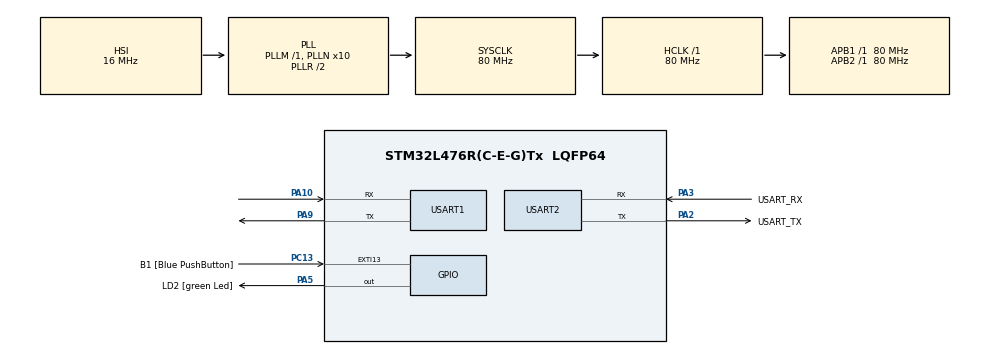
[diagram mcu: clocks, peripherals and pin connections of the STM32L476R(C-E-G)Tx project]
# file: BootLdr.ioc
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Mcu.Family=STM32L4
Mcu.Name=STM32L476R(C-E-G)Tx
Mcu.Package=LQFP64
NVIC.PriorityGroup=NVIC_PRIORITYGROUP_4
PA10.Mode=Asynchronous
PA10.Signal=USART1_RX
PA13\ (JTMS-SWDIO).GPIO_Label=TMS
PA13\ (JTMS-SWDIO).Mode=Trace_Asynchronous_SW
PA13\ (JTMS-SWDIO).Signal=SYS_JTMS-SWDIO
PA14\ (JTCK-SWCLK).GPIO_Label=TCK
PA14\ (JTCK-SWCLK).Mode=Trace_Asynchronous_SW
PA14\ (JTCK-SWCLK).Signal=SYS_JTCK-SWCLK
PA2.GPIO_Label=USART_TX
PA2.GPIO_Mode=GPIO_MODE_AF_PP
PA2.GPIO_PuPd=GPIO_NOPULL
PA2.GPIO_Speed=GPIO_SPEED_FREQ_VERY_HIGH
PA2.Mode=Asynchronous
PA2.Signal=USART2_TX
PA3.GPIO_Label=USART_RX
PA3.GPIO_Mode=GPIO_MODE_AF_PP
PA3.GPIO_PuPd=GPIO_NOPULL
PA3.GPIO_Speed=GPIO_SPEED_FREQ_VERY_HIGH
PA3.Mode=Asynchronous
PA3.Signal=USART2_RX
PA5.GPIO_Label=LD2 [green Led]
PA5.GPIO_ModeDefaultOutputPP=GPIO_MODE_OUTPUT_PP
PA5.GPIO_PuPd=GPIO_NOPULL
PA5.GPIO_Speed=GPIO_SPEED_FREQ_LOW
PA5.Signal=GPIO_Output
PA9.Mode=Asynchronous
PA9.Signal=USART1_TX
PB3\ (JTDO-TRACESWO).GPIO_Label=SWO
PB3\ (JTDO-TRACESWO).Mode=Trace_Asynchronous_SW
PB3\ (JTDO-TRACESWO).Signal=SYS_JTDO-SWO
PC13.GPIO_Label=B1 [Blue PushButton]
PC13.GPIO_ModeDefaultEXTI=GPIO_MODE_IT_FALLING
PC13.GPIO_PuPd=GPIO_NOPULL
PC13.Signal=GPXTI13
PC14-OSC32_IN\ (PC14).Mode=LSE-External-Oscillator
PC14-OSC32_IN\ (PC14).Signal=RCC_OSC32_IN
PC15-OSC32_OUT\ (PC15).Mode=LSE-External-Oscillator
PC15-OSC32_OUT\ (PC15).Signal=RCC_OSC32_OUT
PH0-OSC_IN\ (PH0).Signal=RCC_OSC_IN
PH1-OSC_OUT\ (PH1).Signal=RCC_OSC_OUT
ProjectManager.HeapSize=0x200
ProjectManager.StackSize=0x400
ProjectManager.TargetToolchain=TrueSTUDIO
RCC.ADCFreq_Value=96000000
RCC.AHBFreq_Value=80000000
RCC.APB1Freq_Value=80000000
RCC.APB1TimFreq_Value=80000000
RCC.APB2Freq_Value=80000000
RCC.APB2TimFreq_Value=80000000
RCC.CortexFreq_Value=80000000
RCC.HCLKFreq_Value=80000000
RCC.HSE_VALUE=8000000
RCC.HSI_VALUE=16000000
RCC.MSI_VALUE=4000000
RCC.PLLN=10
RCC.PLLSAI1N=12
RCC.PLLSAI1Q=RCC_PLLQ_DIV4
RCC.PLLSourceVirtual=RCC_PLLSOURCE_HSI
RCC.PREFETCH_ENABLE=1
RCC.RTCClockSelection=RCC_RTCCLKSOURCE_LSE
RCC.SYSCLKFreq_VALUE=80000000
RCC.SYSCLKSource=RCC_SYSCLKSOURCE_PLLCLK
RCC.USBFreq_Value=48000000
RCC.VCOOutputFreq_Value=160000000
RTC.Format=RTC_FORMAT_BIN
USART1.VirtualMode-Asynchronous=VM_ASYNC
USART1.WordLength=WORDLENGTH_8B
USART2.VirtualMode-Asynchronous=VM_ASYNC
USART2.WordLength=WORDLENGTH_8B
VP_RNG_VS_RNG.Mode=RNG_Activate
VP_RTC_VS_RTC_Activate.Mode=RTC_Enabled
VP_RTC_VS_RTC_Calendar.Mode=RTC_Calendar
board=NUCLEO-L476RG

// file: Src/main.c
/**
  ******************************************************************************
  * File Name          : main.c
  * Description        : Main program body
  ******************************************************************************
  ** This notice applies to any and all portions of this file
  * that are not between comment pairs USER CODE BEGIN and
  * USER CODE END. Other portions of this file, whether
  * inserted by the user or by software development tools
  * are owned by their respective copyright owners.
  *
  * COPYRIGHT(c) 2017 STMicroelectronics
  *
  * Redistribution and use in source and binary forms, with or without modification,
  * are permitted provided that the following conditions are met:
  *   1. Redistributions of source code must retain the above copyright notice,
  *      this list of conditions and the following disclaimer.
  *   2. Redistributions in binary form must reproduce the above copyright notice,
  *      this list of conditions and the following disclaimer in the documentation
  *      and/or other materials provided with the distribution.
  *   3. Neither the name of STMicroelectronics nor the names of its contributors
  *      may be used to endorse or promote products derived from this software
  *      without specific prior written permission.
  *
  * THIS SOFTWARE IS PROVIDED BY THE COPYRIGHT HOLDERS AND CONTRIBUTORS "AS IS"
  * AND ANY EXPRESS OR IMPLIED WARRANTIES, INCLUDING, BUT NOT LIMITED TO, THE
  * IMPLIED WARRANTIES OF MERCHANTABILITY AND FITNESS FOR A PARTICULAR PURPOSE ARE
  * DISCLAIMED. IN NO EVENT SHALL THE COPYRIGHT HOLDER OR CONTRIBUTORS BE LIABLE
  * FOR ANY DIRECT, INDIRECT, INCIDENTAL, SPECIAL, EXEMPLARY, OR CONSEQUENTIAL
  * DAMAGES (INCLUDING, BUT NOT LIMITED TO, PROCUREMENT OF SUBSTITUTE GOODS OR
  * SERVICES; LOSS OF USE, DATA, OR PROFITS; OR BUSINESS INTERRUPTION) HOWEVER
  * CAUSED AND ON ANY THEORY OF LIABILITY, WHETHER IN CONTRACT, STRICT LIABILITY,
  * OR TORT (INCLUDING NEGLIGENCE OR OTHERWISE) ARISING IN ANY WAY OUT OF THE USE
  * OF THIS SOFTWARE, EVEN IF ADVISED OF THE POSSIBILITY OF SUCH DAMAGE.
  *
  ******************************************************************************
  */

#include <string.h>
#include "main.h"
#include "stm32l4xx_hal.h"

/* USER CODE BEGIN Includes */
#include "..\..\inc\Firewall.h"
/* USER CODE END Includes */

RNG_HandleTypeDef hrng;

RTC_HandleTypeDef hrtc;

UART_HandleTypeDef huart1;
UART_HandleTypeDef huart2;

/* USER CODE BEGIN PV */
/* Private variables ---------------------------------------------------------*/

/* USER CODE END PV */

void SystemClock_Config(void);
static void MX_GPIO_Init(void);
static void MX_RNG_Init(void);
static void MX_RTC_Init(void);
static void MX_USART2_UART_Init(void);
static void MX_USART1_UART_Init(void);

/* USER CODE BEGIN PFP */
/* Private function prototypes -----------------------------------------------*/

/* USER CODE END PFP */

/* USER CODE BEGIN 0 */
#define CPU_CORE_FREQUENCY_HZ 800000000 /* CPU core frequency in Hz */
void SWO_Init(uint32_t portBits, uint32_t cpuCoreFreqHz) {
  uint32_t SWOSpeed = 4500000; /* default 2000k baud rate */
  uint32_t SWOPrescaler = (cpuCoreFreqHz / SWOSpeed) - 1; /* SWOSpeed in Hz, note that cpuCoreFreqHz is expected to be match the CPU core clock */

  CoreDebug->DEMCR = CoreDebug_DEMCR_TRCENA_Msk; /* enable trace in core debug */
  *((volatile unsigned *)(ITM_BASE + 0x400F0)) = 0x00000002; /* "Selected PIN Protocol Register": Select which protocol to use for trace output (2: SWO NRZ, 1: SWO Manchester encoding) */
  *((volatile unsigned *)(ITM_BASE + 0x40010)) = SWOPrescaler; /* "Async Clock Prescaler Register". Scale the baud rate of the asynchronous output */
  *((volatile unsigned *)(ITM_BASE + 0x00FB0)) = 0xC5ACCE55; /* ITM Lock Access Register, C5ACCE55 enables more write access to Control Register 0xE00 :: 0xFFC */
  ITM->TCR = ITM_TCR_TraceBusID_Msk | ITM_TCR_SWOENA_Msk | ITM_TCR_SYNCENA_Msk | ITM_TCR_ITMENA_Msk; /* ITM Trace Control Register */
  ITM->TPR = ITM_TPR_PRIVMASK_Msk; /* ITM Trace Privilege Register */
  ITM->TER = portBits; /* ITM Trace Enable Register. Enabled tracing on stimulus ports. One bit per stimulus port. */
  *((volatile unsigned *)(ITM_BASE + 0x01000)) = 0x400003FE; /* DWT_CTRL */
  *((volatile unsigned *)(ITM_BASE + 0x40304)) = 0x00000100; /* Formatter and Flush Control Register */
}

/* USER CODE END 0 */

int main(void)
{

  /* USER CODE BEGIN 1 */
  unsigned int result = 0;
  DICE_Context ctx = {0};
  unsigned int sizeTab[3];
  unsigned char* dataTab[3];
  uint8_t key[9] = {0};
  uint8_t data[50] = {0};
  uint8_t digest[32] = {0};
  /* USER CODE END 1 */

  /* MCU Configuration----------------------------------------------------------*/

  /* Reset of all peripherals, Initializes the Flash interface and the Systick. */
  HAL_Init();

  /* Configure the system clock */
  SystemClock_Config();

  /* USER CODE BEGIN SysInit */
  SWO_Init(0x1, CPU_CORE_FREQUENCY_HZ);
  fprintf(stderr, "fancyDICE\r\n");

  /* USER CODE END SysInit */

  /* Initialize all configured peripherals */
  MX_GPIO_Init();
  MX_RNG_Init();
  MX_RTC_Init();
  MX_USART2_UART_Init();
  MX_USART1_UART_Init();

  /* USER CODE BEGIN 2 */
  ctx.fid = DICE_FID_NOOP;
  ctx.magic = DICE_MAGIC;
  ctx.paramSize = 0;
  result = FWCALLGATE(&ctx);

  ctx.fid = DICE_FID_HalHandleTable;
  ctx.magic = DICE_MAGIC;
  ctx.paramSize = sizeof(DICE_PARAM_HalHandleTable);
  ctx.u.HalHandleTable.in.handleTable.phRng = &hrng;
  ctx.u.HalHandleTable.in.handleTable.phUart = &huart2;
  result = FWCALLGATE(&ctx);

  ctx.fid = DICE_FID_GetRandom;
  ctx.magic = DICE_MAGIC;
  ctx.paramSize = sizeof(DICE_PARAM_GetRandom);
  ctx.u.GetRandom.in.entropy = data;
  ctx.u.GetRandom.in.size = sizeof(data);
  result = FWCALLGATE(&ctx);

  ctx.fid = DICE_FID_SHA256;
  ctx.magic = DICE_MAGIC;
  ctx.paramSize = sizeof(DICE_PARAM_SHA256);
  ctx.u.SHA256.in.segments = 3;
  dataTab[0] = data;
  sizeTab[0] = sizeof(data);
  dataTab[1] = data;
  sizeTab[1] = sizeof(data);
  dataTab[2] = data;
  sizeTab[2] = sizeof(data);
  ctx.u.SHA256.in.data = dataTab;
  ctx.u.SHA256.in.size = sizeTab;
  ctx.u.SHA256.in.digest = digest;
  memset(digest, 0x00, sizeof(digest));
  result = FWCALLGATE(&ctx);

  ctx.fid = DICE_FID_GetRandom;
  ctx.magic = DICE_MAGIC;
  ctx.paramSize = sizeof(DICE_PARAM_GetRandom);
  ctx.u.GetRandom.in.entropy = key;
  ctx.u.GetRandom.in.size = sizeof(key);
  result = FWCALLGATE(&ctx);

  ctx.fid = DICE_FID_HMACSHA256;
  ctx.magic = DICE_MAGIC;
  ctx.paramSize = sizeof(DICE_PARAM_HMACSHA256);
  ctx.u.HMACSHA256.in.key = key;
  ctx.u.HMACSHA256.in.keySize = sizeof(key);
  ctx.u.HMACSHA256.in.segments = 3;
  dataTab[0] = data;
  sizeTab[0] = sizeof(data);
  dataTab[1] = data;
  sizeTab[1] = sizeof(data);
  dataTab[2] = data;
  sizeTab[2] = sizeof(data);
  ctx.u.HMACSHA256.in.data = dataTab;
  ctx.u.HMACSHA256.in.dataSize = sizeTab;
  ctx.u.HMACSHA256.in.hmac = digest;
  memset(digest, 0x00, sizeof(digest));
  result = FWCALLGATE(&ctx);

  /* USER CODE END 2 */

  /* Infinite loop */
  while (1)
  {

  /* USER CODE BEGIN 3 */
    fprintf(stdout, "Hallo World\r\n");
    HAL_Delay(1000);
  }
  /* USER CODE END 3 */

}

/** System Clock Configuration
*/
void SystemClock_Config(void)
{

  RCC_OscInitTypeDef RCC_OscInitStruct;
  RCC_ClkInitTypeDef RCC_ClkInitStruct;
  RCC_PeriphCLKInitTypeDef PeriphClkInit;

    /**Configure LSE Drive Capability
    */
  __HAL_RCC_LSEDRIVE_CONFIG(RCC_LSEDRIVE_LOW);

    /**Initializes the CPU, AHB and APB busses clocks
    */
  RCC_OscInitStruct.OscillatorType = RCC_OSCILLATORTYPE_HSI|RCC_OSCILLATORTYPE_LSE;
  RCC_OscInitStruct.LSEState = RCC_LSE_ON;
  RCC_OscInitStruct.HSIState = RCC_HSI_ON;
  RCC_OscInitStruct.HSICalibrationValue = 16;
  RCC_OscInitStruct.PLL.PLLState = RCC_PLL_ON;
  RCC_OscInitStruct.PLL.PLLSource = RCC_PLLSOURCE_HSI;
  RCC_OscInitStruct.PLL.PLLM = 1;
  RCC_OscInitStruct.PLL.PLLN = 10;
  RCC_OscInitStruct.PLL.PLLP = RCC_PLLP_DIV7;
  RCC_OscInitStruct.PLL.PLLQ = RCC_PLLQ_DIV2;
  RCC_OscInitStruct.PLL.PLLR = RCC_PLLR_DIV2;
  if (HAL_RCC_OscConfig(&RCC_OscInitStruct) != HAL_OK)
  {
    _Error_Handler(__FILE__, __LINE__);
  }

    /**Initializes the CPU, AHB and APB busses clocks
    */
  RCC_ClkInitStruct.ClockType = RCC_CLOCKTYPE_HCLK|RCC_CLOCKTYPE_SYSCLK
                              |RCC_CLOCKTYPE_PCLK1|RCC_CLOCKTYPE_PCLK2;
  RCC_ClkInitStruct.SYSCLKSource = RCC_SYSCLKSOURCE_PLLCLK;
  RCC_ClkInitStruct.AHBCLKDivider = RCC_SYSCLK_DIV1;
  RCC_ClkInitStruct.APB1CLKDivider = RCC_HCLK_DIV1;
  RCC_ClkInitStruct.APB2CLKDivider = RCC_HCLK_DIV1;

  if (HAL_RCC_ClockConfig(&RCC_ClkInitStruct, FLASH_LATENCY_4) != HAL_OK)
  {
    _Error_Handler(__FILE__, __LINE__);
  }

  PeriphClkInit.PeriphClockSelection = RCC_PERIPHCLK_RTC|RCC_PERIPHCLK_USART1
                              |RCC_PERIPHCLK_USART2|RCC_PERIPHCLK_RNG;
  PeriphClkInit.Usart1ClockSelection = RCC_USART1CLKSOURCE_PCLK2;
  PeriphClkInit.Usart2ClockSelection = RCC_USART2CLKSOURCE_PCLK1;
  PeriphClkInit.RTCClockSelection = RCC_RTCCLKSOURCE_LSE;
  PeriphClkInit.RngClockSelection = RCC_RNGCLKSOURCE_PLLSAI1;
  PeriphClkInit.PLLSAI1.PLLSAI1Source = RCC_PLLSOURCE_HSI;
  PeriphClkInit.PLLSAI1.PLLSAI1M = 1;
  PeriphClkInit.PLLSAI1.PLLSAI1N = 12;
  PeriphClkInit.PLLSAI1.PLLSAI1P = RCC_PLLP_DIV7;
  PeriphClkInit.PLLSAI1.PLLSAI1Q = RCC_PLLQ_DIV4;
  PeriphClkInit.PLLSAI1.PLLSAI1R = RCC_PLLR_DIV2;
  PeriphClkInit.PLLSAI1.PLLSAI1ClockOut = RCC_PLLSAI1_48M2CLK;
  if (HAL_RCCEx_PeriphCLKConfig(&PeriphClkInit) != HAL_OK)
  {
    _Error_Handler(__FILE__, __LINE__);
  }

    /**Configure the main internal regulator output voltage
    */
  if (HAL_PWREx_ControlVoltageScaling(PWR_REGULATOR_VOLTAGE_SCALE1) != HAL_OK)
  {
    _Error_Handler(__FILE__, __LINE__);
  }

    /**Configure the Systick interrupt time
    */
  HAL_SYSTICK_Config(HAL_RCC_GetHCLKFreq()/1000);

    /**Configure the Systick
    */
  HAL_SYSTICK_CLKSourceConfig(SYSTICK_CLKSOURCE_HCLK);

  /* SysTick_IRQn interrupt configuration */
  HAL_NVIC_SetPriority(SysTick_IRQn, 0, 0);
}

/* RNG init function */
static void MX_RNG_Init(void)
{

  hrng.Instance = RNG;
  if (HAL_RNG_Init(&hrng) != HAL_OK)
  {
    _Error_Handler(__FILE__, __LINE__);
  }

}

/* RTC init function */
static void MX_RTC_Init(void)
{

  RTC_TimeTypeDef sTime;
  RTC_DateTypeDef sDate;

    /**Initialize RTC Only
    */
  hrtc.Instance = RTC;
  hrtc.Init.HourFormat = RTC_HOURFORMAT_24;
  hrtc.Init.AsynchPrediv = 127;
  hrtc.Init.SynchPrediv = 255;
  hrtc.Init.OutPut = RTC_OUTPUT_DISABLE;
  hrtc.Init.OutPutRemap = RTC_OUTPUT_REMAP_NONE;
  hrtc.Init.OutPutPolarity = RTC_OUTPUT_POLARITY_HIGH;
  hrtc.Init.OutPutType = RTC_OUTPUT_TYPE_OPENDRAIN;
  if (HAL_RTC_Init(&hrtc) != HAL_OK)
  {
    _Error_Handler(__FILE__, __LINE__);
  }

    /**Initialize RTC and set the Time and Date
    */
  if(HAL_RTCEx_BKUPRead(&hrtc, RTC_BKP_DR0) != 0x32F2){
  sTime.Hours = 0;
  sTime.Minutes = 0;
  sTime.Seconds = 0;
  sTime.DayLightSaving = RTC_DAYLIGHTSAVING_NONE;
  sTime.StoreOperation = RTC_STOREOPERATION_RESET;
  if (HAL_RTC_SetTime(&hrtc, &sTime, RTC_FORMAT_BIN) != HAL_OK)
  {
    _Error_Handler(__FILE__, __LINE__);
  }

  sDate.WeekDay = RTC_WEEKDAY_MONDAY;
  sDate.Month = RTC_MONTH_JANUARY;
  sDate.Date = 1;
  sDate.Year = 0;

  if (HAL_RTC_SetDate(&hrtc, &sDate, RTC_FORMAT_BIN) != HAL_OK)
  {
    _Error_Handler(__FILE__, __LINE__);
  }

    HAL_RTCEx_BKUPWrite(&hrtc,RTC_BKP_DR0,0x32F2);
  }

}

/* USART1 init function */
static void MX_USART1_UART_Init(void)
{

  huart1.Instance = USART1;
  huart1.Init.BaudRate = 115200;
  huart1.Init.WordLength = UART_WORDLENGTH_8B;
  huart1.Init.StopBits = UART_STOPBITS_1;
  huart1.Init.Parity = UART_PARITY_NONE;
  huart1.Init.Mode = UART_MODE_TX_RX;
  huart1.Init.HwFlowCtl = UART_HWCONTROL_NONE;
  huart1.Init.OverSampling = UART_OVERSAMPLING_16;
  huart1.Init.OneBitSampling = UART_ONE_BIT_SAMPLE_DISABLE;
  huart1.AdvancedInit.AdvFeatureInit = UART_ADVFEATURE_NO_INIT;
  if (HAL_UART_Init(&huart1) != HAL_OK)
  {
    _Error_Handler(__FILE__, __LINE__);
  }

}

/* USART2 init function */
static void MX_USART2_UART_Init(void)
{

  huart2.Instance = USART2;
  huart2.Init.BaudRate = 115200;
  huart2.Init.WordLength = UART_WORDLENGTH_8B;
  huart2.Init.StopBits = UART_STOPBITS_1;
  huart2.Init.Parity = UART_PARITY_NONE;
  huart2.Init.Mode = UART_MODE_TX_RX;
  huart2.Init.HwFlowCtl = UART_HWCONTROL_NONE;
  huart2.Init.OverSampling = UART_OVERSAMPLING_16;
  huart2.Init.OneBitSampling = UART_ONE_BIT_SAMPLE_DISABLE;
  huart2.AdvancedInit.AdvFeatureInit = UART_ADVFEATURE_NO_INIT;
  if (HAL_UART_Init(&huart2) != HAL_OK)
  {
    _Error_Handler(__FILE__, __LINE__);
  }

}

/** Configure pins as
        * Analog
        * Input
        * Output
        * EVENT_OUT
        * EXTI
*/
static void MX_GPIO_Init(void)
{

  GPIO_InitTypeDef GPIO_InitStruct;

  /* GPIO Ports Clock Enable */
  __HAL_RCC_GPIOC_CLK_ENABLE();
  __HAL_RCC_GPIOH_CLK_ENABLE();
  __HAL_RCC_GPIOA_CLK_ENABLE();
  __HAL_RCC_GPIOB_CLK_ENABLE();

  /*Configure GPIO pin Output Level */
  HAL_GPIO_WritePin(LD2_GPIO_Port, LD2_Pin, GPIO_PIN_RESET);

  /*Configure GPIO pin : B1_Pin */
  GPIO_InitStruct.Pin = B1_Pin;
  GPIO_InitStruct.Mode = GPIO_MODE_IT_FALLING;
  GPIO_InitStruct.Pull = GPIO_NOPULL;
  HAL_GPIO_Init(B1_GPIO_Port, &GPIO_InitStruct);

  /*Configure GPIO pin : LD2_Pin */
  GPIO_InitStruct.Pin = LD2_Pin;
  GPIO_InitStruct.Mode = GPIO_MODE_OUTPUT_PP;
  GPIO_InitStruct.Pull = GPIO_NOPULL;
  GPIO_InitStruct.Speed = GPIO_SPEED_FREQ_LOW;
  HAL_GPIO_Init(LD2_GPIO_Port, &GPIO_InitStruct);

}

void _Error_Handler(char * file, int line)
{
  while(1)
  {
  }
}

/************************ (C) COPYRIGHT STMicroelectronics *****END OF FILE****/
